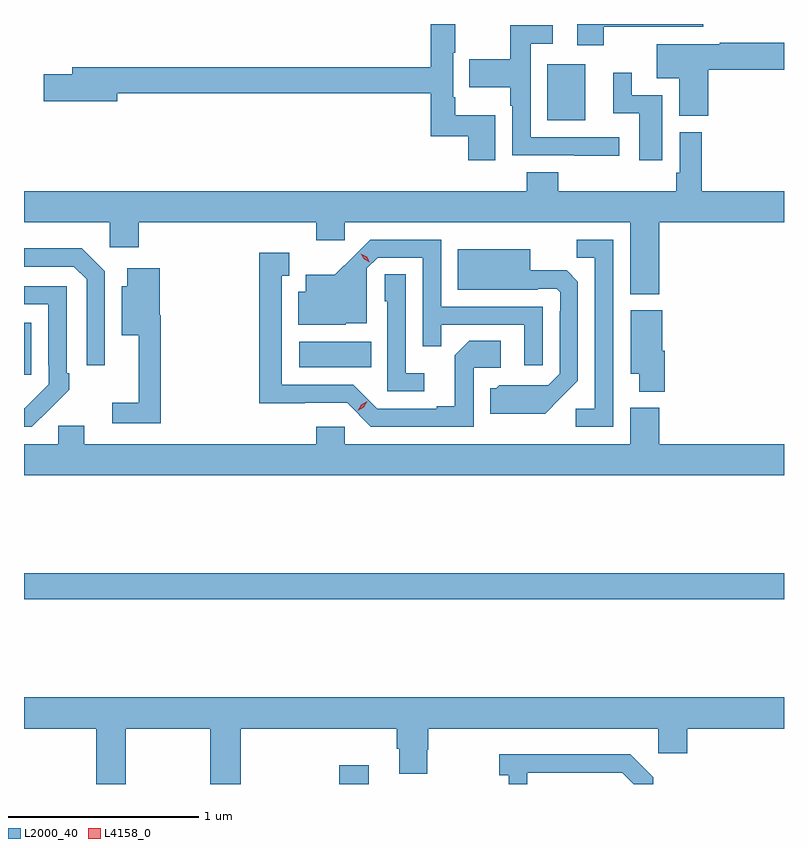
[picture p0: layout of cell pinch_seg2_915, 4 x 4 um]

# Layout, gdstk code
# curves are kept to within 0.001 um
import gdstk
lib = gdstk.Library(unit=1e-6, precision=1e-09)
def R(c, l, rs):  # rectangles x0, y0, x1, y1
    for r in rs: c.add(gdstk.rectangle(r[:2], r[2:], *l))
def P(c, l, *ps):  # polygons
    for p in ps: c.add(gdstk.Polygon(p, *l))
L2000_40 = (2000, 40)
L4158_0 = (4158, 0)

pinch_seg2_915 = lib.new_cell('pinch_seg2_915')
R(pinch_seg2_915, L2000_40, [(338.941,623.368,339.097,623.467), (337.282,624.34,341.282,624.476), (337.282,625.521,337.321,625.795), (338.73,625.562,339.11,625.696), (340.037,626.861,340.237,627.157)])
P(pinch_seg2_915, L2000_40, [(339.763,626.887),(339.553,626.887),(339.553,626.983),(339.54,626.983),(339.54,627.217),(339.552,627.217),(339.552,627.368),(339.424,627.368),(339.424,627.14),(337.535,627.14),(337.535,627.104),(337.386,627.104),(337.386,626.962),(337.774,626.962),(337.774,627.004),(339.424,627.004),(339.424,626.778),(339.62,626.778),(339.62,626.652),(339.763,626.652)],
  [(340.333,627.353),(340.858,627.353),(340.858,627.368),(340.193,627.368),(340.193,627.255),(340.333,627.255)],
  [(340.414,626.772),(339.948,626.772),(339.948,627.264),(340.066,627.264),(340.066,627.361),(339.84,627.361),(339.84,627.182),(339.625,627.182),(339.625,627.035),(339.84,627.035),(339.84,626.939),(339.852,626.939),(339.852,626.676),(340.177,626.676),(340.177,626.675),(340.414,626.675)],
  [(340.883,627.128),(341.282,627.128),(341.282,627.27),(340.945,627.27),(340.945,627.262),(340.613,627.262),(340.613,627.083),(340.73,627.083),(340.73,626.886),(340.883,626.886)],
  [(340.642,626.994),(340.48,626.994),(340.48,627.112),(340.382,627.112),(340.382,626.898),(340.52,626.898),(340.52,626.652),(340.642,626.652)],
  [(340.625,626.324),(341.282,626.324),(341.282,626.488),(340.85,626.488),(340.85,626.797),(340.734,626.797),(340.734,626.584),(340.714,626.584),(340.714,626.488),(340.094,626.488),(340.094,626.587),(339.929,626.587),(339.929,626.488),(337.282,626.488),(337.282,626.324),(337.734,626.324),(337.734,626.193),(337.886,626.193),(337.886,626.324),(338.819,626.324),(338.819,626.229),(338.97,626.229),(338.97,626.324),(340.472,626.324),(340.472,625.946),(340.625,625.946)],
  [(340.383,626.232),(340.192,626.232),(340.192,626.137),(340.287,626.137),(340.287,625.344),(340.185,625.344),(340.185,625.248),(340.383,625.248)],
  [(340.011,625.881),(339.477,625.881),(339.477,626.232),(339.104,626.232),(338.917,626.047),(338.765,626.047),(338.765,625.96),(338.726,625.96),(338.726,625.784),(338.976,625.784),(338.976,625.793),(339.087,625.793),(339.087,626.082),(339.144,626.139),(339.381,626.139),(339.381,625.672),(339.479,625.672),(339.479,625.785),(339.915,625.785),(339.915,625.572),(340.011,625.572)],
  [(337.707,626.067),(337.586,626.188),(337.282,626.188),(337.282,626.091),(337.545,626.091),(337.611,626.025),(337.611,625.572),(337.707,625.572)],
  [(340.105,625.397),(340.197,625.49),(340.197,626.012),(340.138,626.071),(339.946,626.071),(339.946,626.182),(339.566,626.182),(339.566,625.97),(339.986,625.97),(339.986,625.974),(340.086,625.974),(340.104,625.956),(340.104,625.856),(340.101,625.856),(340.101,625.527),(340.041,625.467),(339.784,625.468),(339.768,625.452),(339.737,625.452),(339.737,625.316),(340.025,625.316)],
  [(339.648,625.56),(339.79,625.56),(339.79,625.7),(339.625,625.7),(339.549,625.624),(339.549,625.357),(339.455,625.357),(339.455,625.344),(339.141,625.344),(339.015,625.47),(338.638,625.47),(338.638,626.043),(338.677,626.043),(338.677,626.164),(338.52,626.164),(338.52,625.373),(338.982,625.374),(339.108,625.248),(339.648,625.248)],
  [(338.003,625.834),(337.997,625.834),(337.997,626.083),(337.826,626.083),(337.826,625.987),(337.796,625.987),(337.796,625.73),(337.886,625.73),(337.886,625.375),(337.746,625.375),(337.746,625.266),(338.003,625.266)],
  [(339.388,625.531),(339.291,625.531),(339.291,626.051),(339.18,626.051),(339.18,625.908),(339.195,625.908),(339.195,625.434),(339.388,625.434)],
  [(337.415,625.339),(337.416,625.338),(337.521,625.443),(337.521,625.531),(337.506,625.531),(337.506,625.989),(337.282,625.989),(337.282,625.893),(337.41,625.893),(337.41,625.573),(337.413,625.573),(337.413,625.473),(337.285,625.345),(337.282,625.345),(337.282,625.248),(337.324,625.248)],
  [(340.655,625.647),(340.642,625.647),(340.642,625.861),(340.475,625.861),(340.475,625.526),(340.52,625.526),(340.52,625.433),(340.655,625.433)],
  [(341.282,625.156),(340.625,625.156),(340.625,625.348),(340.472,625.348),(340.472,625.156),(338.97,625.156),(338.97,625.249),(338.819,625.249),(338.819,625.156),(337.6,625.156),(337.6,625.254),(337.461,625.254),(337.461,625.156),(337.282,625.156),(337.282,624.992),(341.282,624.992)],
  [(337.818,623.66),(338.263,623.66),(338.263,623.368),(338.423,623.368),(338.423,623.66),(339.245,623.66),(339.245,623.554),(339.257,623.554),(339.257,623.422),(339.405,623.422),(339.405,623.547),(339.41,623.547),(339.41,623.66),(340.62,623.66),(340.62,623.529),(340.772,623.529),(340.772,623.66),(341.282,623.66),(341.282,623.824),(337.282,623.824),(337.282,623.66),(337.663,623.66),(337.663,623.368),(337.818,623.368)],
  [(339.931,623.427),(340.431,623.427),(340.49,623.368),(340.593,623.368),(340.593,623.403),(340.472,623.524),(339.783,623.524),(339.783,623.414),(339.834,623.414),(339.834,623.368),(339.931,623.368)])
P(pinch_seg2_915, L4158_0, [(339.103,626.114),(339.072,626.129),(339.054,626.159),(339.054,626.159),(339.054,626.159),(339.085,626.144),(339.103,626.114),(339.103,626.114)],
  [(339.038,625.332),(339.038,625.332),(339.056,625.364),(339.088,625.383),(339.089,625.383),(339.089,625.383),(339.071,625.35),(339.039,625.332)])

lib.write_gds('pinch_seg2_915.gds')
